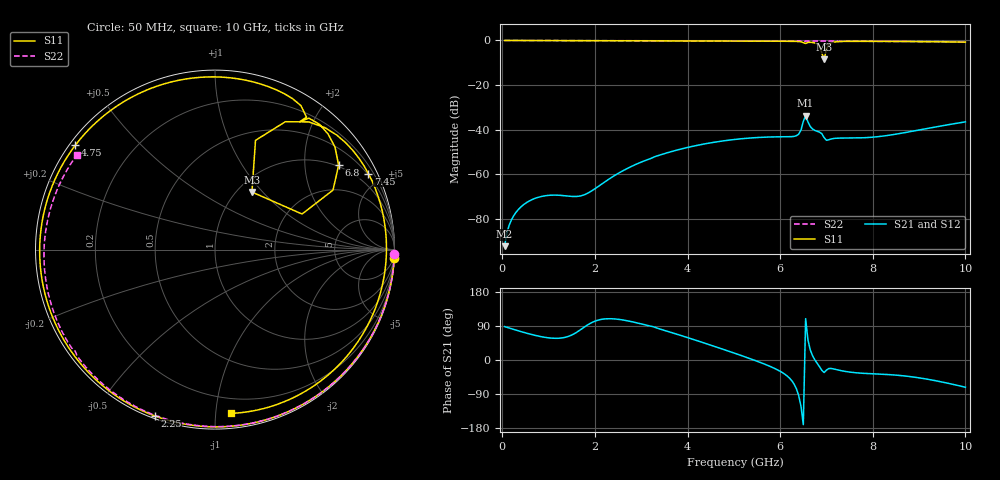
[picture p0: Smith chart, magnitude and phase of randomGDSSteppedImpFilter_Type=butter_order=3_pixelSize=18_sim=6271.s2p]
! freq	dB(S11)	phase(S11)	dB(S12)	phase(S12)
!  dB(S21)	phase(S21)	dB(S22)	phase(S22)
!S-par simulation data
#  GHz  S  DB  R 50
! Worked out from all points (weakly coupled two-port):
!   200 points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, 50 MHz to 10 GHz, reference 50 ohm
!   highest |S21| = -33.82 dB at 6.55 GHz (marker M1); lowest = -92.4 dB at 50 MHz (marker M2)
!   lowest |S11| = -8.4 dB at 6.95 GHz (marker M3), VSWR 2.23, Z = 58.3 + j43.7 ohm
!   |S11| at or under -10 dB: nowhere
!   |S22| runs from -0.6 to 0.0 dB; largest |S21 - S12| = 0
!   S11 on the Smith chart (normalised r, x): 50 MHz: 0, -43; 2.25 GHz: 0.01, -0.70; 4.75 GHz: 0.02, +0.33; 6.8 GHz: 0.96, +2.96; 7.45 GHz: 0.45, +4.23; 10 GHz: 0.10, -1.10
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0.05  -0.00 -2.6  -92.40 88.1  -92.40 88.1  -0.00 -1.3
0.2  -0.01 -10.5  -80.47 82.4  -80.47 82.4  -0.01 -5.0
0.75  -0.05 -38.7  -70.61 63.8  -70.61 63.8  -0.02 -18.8
1.75  -0.10 -87.3  -69.47 85.1  -69.47 85.1  -0.05 -43.2
2.25  -0.13 -110.0  -63.01 108.8  -63.01 108.8  -0.07 -54.9
3.4  -0.18 -159.3  -51.47 81.9  -51.47 81.9  -0.10 -80.8
4.05  -0.21 173.4  -47.82 57.2  -47.82 57.2  -0.13 -94.7
4.75  -0.25 143.3  -45.17 29.0  -45.17 29.0  -0.16 -109.0
5.05  -0.27 130.0  -44.39 16.5  -44.39 16.5  -0.17 -115.0
5.75  -0.32 97.4  -43.38 -15.2  -43.38 -15.2  -0.21 -128.8
6.35  -0.44 66.0  -42.81 -75.6  -42.81 -75.6  -0.25 -140.5
6.55  -1.35 56.4  -33.82 109.1  -33.82 109.1  -0.33 -144.1
6.7  -0.91 45.6  -39.77 11.1  -39.77 11.1  -0.28 -147.0
6.8  -1.58 34.3  -40.82 -8.9  -40.82 -8.9  -0.28 -149.0
6.9  -5.61 22.2  -41.89 -27.4  -41.89 -27.4  -0.29 -150.9
6.95  -8.38 57.3  -43.66 -32.9  -43.66 -32.9  -0.29 -151.9
7.05  -1.79 61.2  -44.60 -22.5  -44.60 -22.5  -0.30 -153.8
7.2  -0.62 43.2  -43.94 -24.9  -43.94 -24.9  -0.31 -156.7
7.45  -0.41 26.3  -43.83 -31.0  -43.83 -31.0  -0.34 -161.6
8.35  -0.43 -17.6  -42.58 -38.6  -42.58 -38.6  -0.42 -179.3
9.2  -0.55 -53.3  -39.45 -51.1  -39.45 -51.1  -0.51 163.1
10  -0.75 -84.4  -36.56 -72.0  -36.56 -72.0  -0.60 145.4
